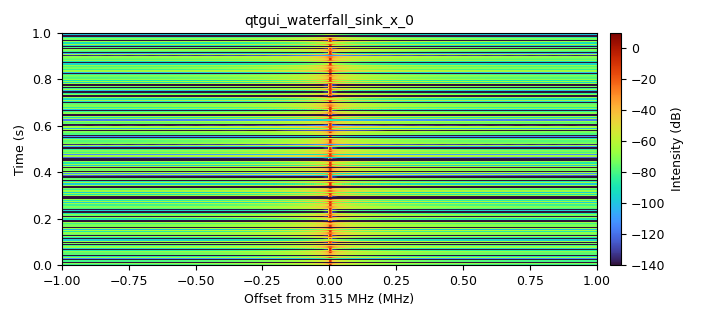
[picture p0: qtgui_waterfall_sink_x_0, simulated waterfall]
options:
  parameters:
    category: Custom
    description: Simple OOK synthesizer for Tesla charge ports.
    generate_options: qt_gui
    id: transmit
    output_language: python
    title: Tesla Charge Port Remote
  states: {}

blocks:
- name: amp_gain
  id: variable_qtgui_range
  parameters:
    orient: Qt.Horizontal
    start: '1'
    step: '1'
    stop: '14'
    value: '10'
  states: {}
- name: samp_rate
  id: variable
  parameters:
    value: 2e6
  states: {}
- name: samples_per_symbol
  id: variable
  parameters:
    value: int(samp_rate * symbol_duration)
  states: {}
- name: single_thunk
  id: variable
  parameters:
    value: (1,0,1,0,1,0,1,0,1,0,1,0,1,0,1,0,1,0,1,0,1,0,1,0,1,0,0,0,1,0,1,0,1,1,0,0,1,0,1,1,0,0,1,1,0,0,1,0,1,1,0,0,1,1,0,0,1,1,0,0,1,1,0,0,1,1,0,0,1,0,1,1,0,1,0,0,1,1,0,1,0,0,1,0,1,1,0,1,0,1,0,0,1,0,1,0,1,1,0,1,0,0,1,1,0,1,0,0,1,1,0,0,1,0,1,0,1,0,1,1,0,1,0,0,1,0,1,1,0,0,0,1,0,1,0,1,1,0,0,1,0,1,1,0,0,1,1,0,0,1,0,1,1,0,0,1,1,0,0,1,1,0,0,1,1,0,0,1,1,0,0,1,0,1,1,0,1,0,0,1,1,0,1,0,0,1,0,1,1,0,1,0,1,0,0,1,0,1,0,1,1,0,1,0,0,1,1,0,1,0,0,1,1,0,0,1,0,1,0,1,0,1,1,0,1,0,0,1,0,1,1,0,0,0,1,0,1,0,1,1,0,0,1,0,1,1,0,0,1,1,0,0,1,0,1,1,0,0,1,1,0,0,1,1,0,0,1,1,0,0,1,1,0,0,1,0,1,1,0,1,0,0,1,1,0,1,0,0,1,0,1,1,0,1,0,1,0,0,1,0,1,0,1,1,0,1,0,0,1,1,0,1,0,0,1,1,0,0,1,0,1,0,1,0,1,1,0,1,0,0,1,0,1,0,0,0)
  states: {}
- name: symbol_duration
  id: variable
  parameters:
    value: '398e-6'
  states: {}
- name: symbol_rate
  id: variable
  parameters:
    value: 1/symbol_duration
  states: {}
- name: target_freq
  id: variable
  parameters:
    value: 315.000e6
  states: {}
- name: turn_it_up_to_10
  id: variable
  parameters:
    value: (1,0,1,0,1,0,1,0,1,0,1,0,1,0,1,0,1,0,1,0,1,0,1,0,1,0,0,0,1,0,1,0,1,1,0,0,1,0,1,1,0,0,1,1,0,0,1,0,1,1,0,0,1,1,0,0,1,1,0,0,1,1,0,0,1,1,0,0,1,0,1,1,0,1,0,0,1,1,0,1,0,0,1,0,1,1,0,1,0,1,0,0,1,0,1,0,1,1,0,1,0,0,1,1,0,1,0,0,1,1,0,0,1,0,1,0,1,0,1,1,0,1,0,0,1,0,1,1,0,0,0,1,0,1,0,1,1,0,0,1,0,1,1,0,0,1,1,0,0,1,0,1,1,0,0,1,1,0,0,1,1,0,0,1,1,0,0,1,1,0,0,1,0,1,1,0,1,0,0,1,1,0,1,0,0,1,0,1,1,0,1,0,1,0,0,1,0,1,0,1,1,0,1,0,0,1,1,0,1,0,0,1,1,0,0,1,0,1,0,1,0,1,1,0,1,0,0,1,0,1,1,0,0,0,1,0,1,0,1,1,0,0,1,0,1,1,0,0,1,1,0,0,1,0,1,1,0,0,1,1,0,0,1,1,0,0,1,1,0,0,1,1,0,0,1,0,1,1,0,1,0,0,1,1,0,1,0,0,1,0,1,1,0,1,0,1,0,0,1,0,1,0,1,1,0,1,0,0,1,1,0,1,0,0,1,1,0,0,1,0,1,0,1,0,1,1,0,1,0,0,1,0,1,0,0,0,1,0,1,0,1,0,1,0,1,0,1,0,1,0,1,0,1,0,1,0,1,0,1,0,1,0,0,0,1,0,1,0,1,1,0,0,1,0,1,1,0,0,1,1,0,0,1,0,1,1,0,0,1,1,0,0,1,1,0,0,1,1,0,0,1,1,0,0,1,0,1,1,0,1,0,0,1,1,0,1,0,0,1,0,1,1,0,1,0,1,0,0,1,0,1,0,1,1,0,1,0,0,1,1,0,1,0,0,1,1,0,0,1,0,1,0,1,0,1,1,0,1,0,0,1,0,1,1,0,0,0,1,0,1,0,1,1,0,0,1,0,1,1,0,0,1,1,0,0,1,0,1,1,0,0,1,1,0,0,1,1,0,0,1,1,0,0,1,1,0,0,1,0,1,1,0,1,0,0,1,1,0,1,0,0,1,0,1,1,0,1,0,1,0,0,1,0,1,0,1,1,0,1,0,0,1,1,0,1,0,0,1,1,0,0,1,0,1,0,1,0,1,1,0,1,0,0,1,0,1,1,0,0,0,1,0,1,0,1,1,0,0,1,0,1,1,0,0,1,1,0,0,1,0,1,1,0,0,1,1,0,0,1,1,0,0,1,1,0,0,1,1,0,0,1,0,1,1,0,1,0,0,1,1,0,1,0,0,1,0,1,1,0,1,0,1,0,0,1,0,1,0,1,1,0,1,0,0,1,1,0,1,0,0,1,1,0,0,1,0,1,0,1,0,1,1,0,1,0,0,1,0,1,0,0,0,1,0,1,0,1,0,1,0,1,0,1,0,1,0,1,0,1,0,1,0,1,0,1,0,1,0,0,0,1,0,1,0,1,1,0,0,1,0,1,1,0,0,1,1,0,0,1,0,1,1,0,0,1,1,0,0,1,1,0,0,1,1,0,0,1,1,0,0,1,0,1,1,0,1,0,0,1,1,0,1,0,0,1,0,1,1,0,1,0,1,0,0,1,0,1,0,1,1,0,1,0,0,1,1,0,1,0,0,1,1,0,0,1,0,1,0,1,0,1,1,0,1,0,0,1,0,1,1,0,0,0,1,0,1,0,1,1,0,0,1,0,1,1,0,0,1,1,0,0,1,0,1,1,0,0,1,1,0,0,1,1,0,0,1,1,0,0,1,1,0,0,1,0,1,1,0,1,0,0,1,1,0,1,0,0,1,0,1,1,0,1,0,1,0,0,1,0,1,0,1,1,0,1,0,0,1,1,0,1,0,0,1,1,0,0,1,0,1,0,1,0,1,1,0,1,0,0,1,0,1,1,0,0,0,1,0,1,0,1,1,0,0,1,0,1,1,0,0,1,1,0,0,1,0,1,1,0,0,1,1,0,0,1,1,0,0,1,1,0,0,1,1,0,0,1,0,1,1,0,1,0,0,1,1,0,1,0,0,1,0,1,1,0,1,0,1,0,0,1,0,1,0,1,1,0,1,0,0,1,1,0,1,0,0,1,1,0,0,1,0,1,0,1,0,1,1,0,1,0,0,1,0,1,0,0,0,1,0,1,0,1,0,1,0,1,0,1,0,1,0,1,0,1,0,1,0,1,0,1,0,1,0,0,0,1,0,1,0,1,1,0,0,1,0,1,1,0,0,1,1,0,0,1,0,1,1,0,0,1,1,0,0,1,1,0,0,1,1,0,0,1,1,0,0,1,0,1,1,0,1,0,0,1,1,0,1,0,0,1,0,1,1,0,1,0,1,0,0,1,0,1,0,1,1,0,1,0,0,1,1,0,1,0,0,1,1,0,0,1,0,1,0,1,0,1,1,0,1,0,0,1,0,1,1,0,0,0,1,0,1,0,1,1,0,0,1,0,1,1,0,0,1,1,0,0,1,0,1,1,0,0,1,1,0,0,1,1,0,0,1,1,0,0,1,1,0,0,1,0,1,1,0,1,0,0,1,1,0,1,0,0,1,0,1,1,0,1,0,1,0,0,1,0,1,0,1,1,0,1,0,0,1,1,0,1,0,0,1,1,0,0,1,0,1,0,1,0,1,1,0,1,0,0,1,0,1,1,0,0,0,1,0,1,0,1,1,0,0,1,0,1,1,0,0,1,1,0,0,1,0,1,1,0,0,1,1,0,0,1,1,0,0,1,1,0,0,1,1,0,0,1,0,1,1,0,1,0,0,1,1,0,1,0,0,1,0,1,1,0,1,0,1,0,0,1,0,1,0,1,1,0,1,0,0,1,1,0,1,0,0,1,1,0,0,1,0,1,0,1,0,1,1,0,1,0,0,1,0,1,0,0,0,1,0,1,0,1,0,1,0,1,0,1,0,1,0,1,0,1,0,1,0,1,0,1,0,1,0,0,0,1,0,1,0,1,1,0,0,1,0,1,1,0,0,1,1,0,0,1,0,1,1,0,0,1,1,0,0,1,1,0,0,1,1,0,0,1,1,0,0,1,0,1,1,0,1,0,0,1,1,0,1,0,0,1,0,1,1,0,1,0,1,0,0,1,0,1,0,1,1,0,1,0,0,1,1,0,1,0,0,1,1,0,0,1,0,1,0,1,0,1,1,0,1,0,0,1,0,1,1,0,0,0,1,0,1,0,1,1,0,0,1,0,1,1,0,0,1,1,0,0,1,0,1,1,0,0,1,1,0,0,1,1,0,0,1,1,0,0,1,1,0,0,1,0,1,1,0,1,0,0,1,1,0,1,0,0,1,0,1,1,0,1,0,1,0,0,1,0,1,0,1,1,0,1,0,0,1,1,0,1,0,0,1,1,0,0,1,0,1,0,1,0,1,1,0,1,0,0,1,0,1,1,0,0,0,1,0,1,0,1,1,0,0,1,0,1,1,0,0,1,1,0,0,1,0,1,1,0,0,1,1,0,0,1,1,0,0,1,1,0,0,1,1,0,0,1,0,1,1,0,1,0,0,1,1,0,1,0,0,1,0,1,1,0,1,0,1,0,0,1,0,1,0,1,1,0,1,0,0,1,1,0,1,0,0,1,1,0,0,1,0,1,0,1,0,1,1,0,1,0,0,1,0,1,0,0,0,1,0,1,0,1,0,1,0,1,0,1,0,1,0,1,0,1,0,1,0,1,0,1,0,1,0,0,0,1,0,1,0,1,1,0,0,1,0,1,1,0,0,1,1,0,0,1,0,1,1,0,0,1,1,0,0,1,1,0,0,1,1,0,0,1,1,0,0,1,0,1,1,0,1,0,0,1,1,0,1,0,0,1,0,1,1,0,1,0,1,0,0,1,0,1,0,1,1,0,1,0,0,1,1,0,1,0,0,1,1,0,0,1,0,1,0,1,0,1,1,0,1,0,0,1,0,1,1,0,0,0,1,0,1,0,1,1,0,0,1,0,1,1,0,0,1,1,0,0,1,0,1,1,0,0,1,1,0,0,1,1,0,0,1,1,0,0,1,1,0,0,1,0,1,1,0,1,0,0,1,1,0,1,0,0,1,0,1,1,0,1,0,1,0,0,1,0,1,0,1,1,0,1,0,0,1,1,0,1,0,0,1,1,0,0,1,0,1,0,1,0,1,1,0,1,0,0,1,0,1,1,0,0,0,1,0,1,0,1,1,0,0,1,0,1,1,0,0,1,1,0,0,1,0,1,1,0,0,1,1,0,0,1,1,0,0,1,1,0,0,1,1,0,0,1,0,1,1,0,1,0,0,1,1,0,1,0,0,1,0,1,1,0,1,0,1,0,0,1,0,1,0,1,1,0,1,0,0,1,1,0,1,0,0,1,1,0,0,1,0,1,0,1,0,1,1,0,1,0,0,1,0,1,0,0,0,1,0,1,0,1,0,1,0,1,0,1,0,1,0,1,0,1,0,1,0,1,0,1,0,1,0,0,0,1,0,1,0,1,1,0,0,1,0,1,1,0,0,1,1,0,0,1,0,1,1,0,0,1,1,0,0,1,1,0,0,1,1,0,0,1,1,0,0,1,0,1,1,0,1,0,0,1,1,0,1,0,0,1,0,1,1,0,1,0,1,0,0,1,0,1,0,1,1,0,1,0,0,1,1,0,1,0,0,1,1,0,0,1,0,1,0,1,0,1,1,0,1,0,0,1,0,1,1,0,0,0,1,0,1,0,1,1,0,0,1,0,1,1,0,0,1,1,0,0,1,0,1,1,0,0,1,1,0,0,1,1,0,0,1,1,0,0,1,1,0,0,1,0,1,1,0,1,0,0,1,1,0,1,0,0,1,0,1,1,0,1,0,1,0,0,1,0,1,0,1,1,0,1,0,0,1,1,0,1,0,0,1,1,0,0,1,0,1,0,1,0,1,1,0,1,0,0,1,0,1,1,0,0,0,1,0,1,0,1,1,0,0,1,0,1,1,0,0,1,1,0,0,1,0,1,1,0,0,1,1,0,0,1,1,0,0,1,1,0,0,1,1,0,0,1,0,1,1,0,1,0,0,1,1,0,1,0,0,1,0,1,1,0,1,0,1,0,0,1,0,1,0,1,1,0,1,0,0,1,1,0,1,0,0,1,1,0,0,1,0,1,0,1,0,1,1,0,1,0,0,1,0,1,0,0,0,1,0,1,0,1,0,1,0,1,0,1,0,1,0,1,0,1,0,1,0,1,0,1,0,1,0,0,0,1,0,1,0,1,1,0,0,1,0,1,1,0,0,1,1,0,0,1,0,1,1,0,0,1,1,0,0,1,1,0,0,1,1,0,0,1,1,0,0,1,0,1,1,0,1,0,0,1,1,0,1,0,0,1,0,1,1,0,1,0,1,0,0,1,0,1,0,1,1,0,1,0,0,1,1,0,1,0,0,1,1,0,0,1,0,1,0,1,0,1,1,0,1,0,0,1,0,1,1,0,0,0,1,0,1,0,1,1,0,0,1,0,1,1,0,0,1,1,0,0,1,0,1,1,0,0,1,1,0,0,1,1,0,0,1,1,0,0,1,1,0,0,1,0,1,1,0,1,0,0,1,1,0,1,0,0,1,0,1,1,0,1,0,1,0,0,1,0,1,0,1,1,0,1,0,0,1,1,0,1,0,0,1,1,0,0,1,0,1,0,1,0,1,1,0,1,0,0,1,0,1,1,0,0,0,1,0,1,0,1,1,0,0,1,0,1,1,0,0,1,1,0,0,1,0,1,1,0,0,1,1,0,0,1,1,0,0,1,1,0,0,1,1,0,0,1,0,1,1,0,1,0,0,1,1,0,1,0,0,1,0,1,1,0,1,0,1,0,0,1,0,1,0,1,1,0,1,0,0,1,1,0,1,0,0,1,1,0,0,1,0,1,0,1,0,1,1,0,1,0,0,1,0,1,0,0,0,1,0,1,0,1,0,1,0,1,0,1,0,1,0,1,0,1,0,1,0,1,0,1,0,1,0,0,0,1,0,1,0,1,1,0,0,1,0,1,1,0,0,1,1,0,0,1,0,1,1,0,0,1,1,0,0,1,1,0,0,1,1,0,0,1,1,0,0,1,0,1,1,0,1,0,0,1,1,0,1,0,0,1,0,1,1,0,1,0,1,0,0,1,0,1,0,1,1,0,1,0,0,1,1,0,1,0,0,1,1,0,0,1,0,1,0,1,0,1,1,0,1,0,0,1,0,1,1,0,0,0,1,0,1,0,1,1,0,0,1,0,1,1,0,0,1,1,0,0,1,0,1,1,0,0,1,1,0,0,1,1,0,0,1,1,0,0,1,1,0,0,1,0,1,1,0,1,0,0,1,1,0,1,0,0,1,0,1,1,0,1,0,1,0,0,1,0,1,0,1,1,0,1,0,0,1,1,0,1,0,0,1,1,0,0,1,0,1,0,1,0,1,1,0,1,0,0,1,0,1,1,0,0,0,1,0,1,0,1,1,0,0,1,0,1,1,0,0,1,1,0,0,1,0,1,1,0,0,1,1,0,0,1,1,0,0,1,1,0,0,1,1,0,0,1,0,1,1,0,1,0,0,1,1,0,1,0,0,1,0,1,1,0,1,0,1,0,0,1,0,1,0,1,1,0,1,0,0,1,1,0,1,0,0,1,1,0,0,1,0,1,0,1,0,1,1,0,1,0,0,1,0,1,0,0,0,1,0,1,0,1,0,1,0,1,0,1,0,1,0,1,0,1,0,1,0,1,0,1,0,1,0,0,0,1,0,1,0,1,1,0,0,1,0,1,1,0,0,1,1,0,0,1,0,1,1,0,0,1,1,0,0,1,1,0,0,1,1,0,0,1,1,0,0,1,0,1,1,0,1,0,0,1,1,0,1,0,0,1,0,1,1,0,1,0,1,0,0,1,0,1,0,1,1,0,1,0,0,1,1,0,1,0,0,1,1,0,0,1,0,1,0,1,0,1,1,0,1,0,0,1,0,1,1,0,0,0,1,0,1,0,1,1,0,0,1,0,1,1,0,0,1,1,0,0,1,0,1,1,0,0,1,1,0,0,1,1,0,0,1,1,0,0,1,1,0,0,1,0,1,1,0,1,0,0,1,1,0,1,0,0,1,0,1,1,0,1,0,1,0,0,1,0,1,0,1,1,0,1,0,0,1,1,0,1,0,0,1,1,0,0,1,0,1,0,1,0,1,1,0,1,0,0,1,0,1,1,0,0,0,1,0,1,0,1,1,0,0,1,0,1,1,0,0,1,1,0,0,1,0,1,1,0,0,1,1,0,0,1,1,0,0,1,1,0,0,1,1,0,0,1,0,1,1,0,1,0,0,1,1,0,1,0,0,1,0,1,1,0,1,0,1,0,0,1,0,1,0,1,1,0,1,0,0,1,1,0,1,0,0,1,1,0,0,1,0,1,0,1,0,1,1,0,1,0,0,1,0,1,0,0,0)
  states: {}
- name: vga_gain
  id: variable_qtgui_range
  parameters:
    orient: Qt.Horizontal
    start: '1'
    step: '5'
    stop: '100'
    value: '10'
  states: {}
- name: blocks_float_to_complex_0
  id: blocks_float_to_complex
  parameters: {}
  states: {}
- name: blocks_null_source_0
  id: blocks_null_source
  parameters:
    type: byte
  states: {state: disabled}
- name: blocks_repeat_0
  id: blocks_repeat
  parameters:
    comment: This "stretches" out each bit so that it matches the current duration of the measured symbol
    interp: samples_per_symbol
    type: float
  states: {}
- name: blocks_uchar_to_float_0
  id: blocks_uchar_to_float
  parameters: {}
  states: {}
- name: blocks_vector_source_x_0
  id: blocks_vector_source_x
  parameters:
    repeat: 'True'
    type: byte
    vector: single_thunk
  states: {}
- name: blocks_vector_source_x_0_0
  id: blocks_vector_source_x
  parameters:
    repeat: 'True'
    type: byte
    vector: turn_it_up_to_10
  states: {state: disabled}
- name: qtgui_waterfall_sink_x_0
  id: qtgui_waterfall_sink_x
  parameters:
    bw: samp_rate
    fc: target_freq
    fftsize: '1024'
    type: complex
    wintype: firdes.WIN_BLACKMAN_hARRIS
  states: {}
- name: soapy_sink_0
  id: soapy_sink
  parameters:
    amp_gain0: amp_gain
    center_freq0: target_freq
    devname: hackrf
    samp_rate: samp_rate
    type: fc32
    vga_gain0: vga_gain
  states: {}

connections:
- [blocks_float_to_complex_0, '0', qtgui_waterfall_sink_x_0, '0']
- [blocks_float_to_complex_0, '0', soapy_sink_0, '0']
- [blocks_null_source_0, '0', blocks_uchar_to_float_0, '0']
- [blocks_repeat_0, '0', blocks_float_to_complex_0, '0']
- [blocks_uchar_to_float_0, '0', blocks_repeat_0, '0']
- [blocks_vector_source_x_0, '0', blocks_uchar_to_float_0, '0']
- [blocks_vector_source_x_0_0, '0', blocks_uchar_to_float_0, '0']

metadata:
  file_format: 1
